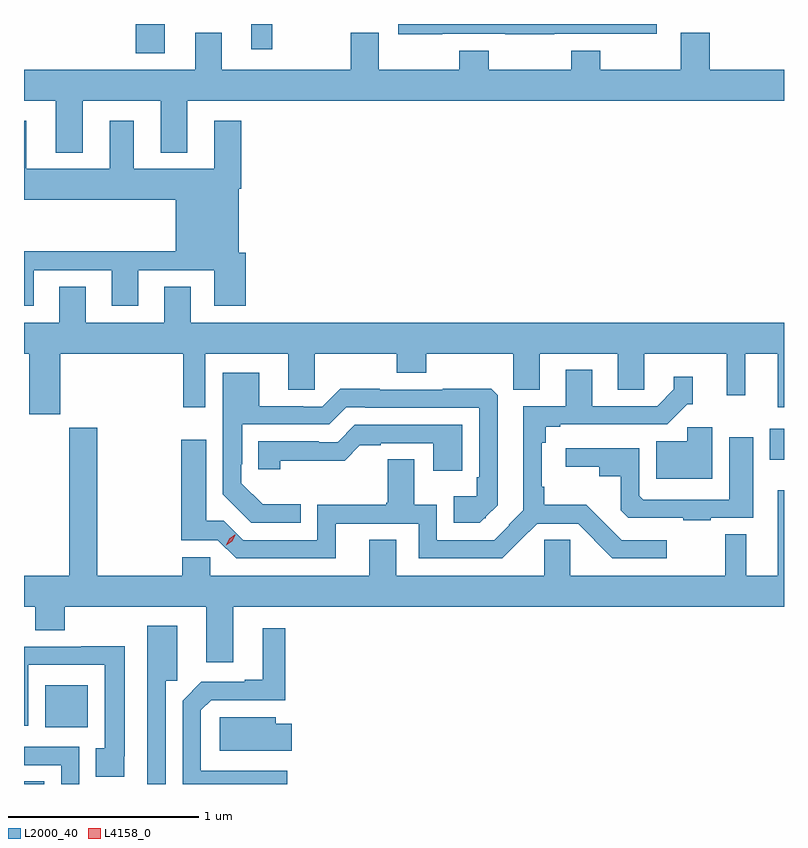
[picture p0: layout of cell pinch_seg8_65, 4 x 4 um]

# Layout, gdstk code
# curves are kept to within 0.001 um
import gdstk
lib = gdstk.Library(unit=1e-6, precision=1e-09)
def R(c, l, rs):  # rectangles x0, y0, x1, y1
    for r in rs: c.add(gdstk.rectangle(r[:2], r[2:], *l))
def P(c, l, *ps):  # polygons
    for p in ps: c.add(gdstk.Polygon(p, *l))
L2000_40 = (2000, 40)
L4158_0 = (4158, 0)

pinch_seg8_65 = lib.new_cell('pinch_seg8_65')
R(pinch_seg8_65, L2000_40, [(885.149,1120.896,885.256,1120.91), (885.26,1121.195,885.484,1121.416), (889.074,1122.602,889.149,1122.766), (885.737,1124.741,885.889,1124.896), (886.346,1124.763,886.456,1124.896)])
P(pinch_seg8_65, L2000_40, [(887.351,1124.844),(887.683,1124.844),(887.683,1124.843),(887.939,1124.843),(887.939,1124.844),(888.478,1124.844),(888.478,1124.896),(887.12,1124.896),(887.12,1124.843),(887.351,1124.843)],
  [(885.457,1124.492),(885.869,1124.492),(885.869,1124.219),(886.009,1124.219),(886.009,1124.492),(889.149,1124.492),(889.149,1124.656),(888.758,1124.656),(888.758,1124.851),(888.605,1124.851),(888.605,1124.656),(888.183,1124.656),(888.183,1124.755),(888.028,1124.755),(888.028,1124.656),(887.595,1124.656),(887.595,1124.755),(887.44,1124.755),(887.44,1124.656),(887.017,1124.656),(887.017,1124.851),(886.87,1124.851),(886.87,1124.656),(886.189,1124.656),(886.189,1124.851),(886.049,1124.851),(886.049,1124.656),(885.149,1124.656),(885.149,1124.492),(885.317,1124.492),(885.317,1124.219),(885.457,1124.219)],
  [(885.199,1123.599),(885.611,1123.599),(885.611,1123.413),(885.751,1123.413),(885.751,1123.599),(886.151,1123.599),(886.151,1123.413),(886.316,1123.413),(886.316,1123.692),(886.279,1123.692),(886.279,1124.03),(886.292,1124.03),(886.292,1124.386),(886.151,1124.386),(886.151,1124.134),(885.727,1124.134),(885.727,1124.386),(885.599,1124.386),(885.599,1124.134),(885.16,1124.134),(885.16,1124.386),(885.149,1124.386),(885.149,1123.97),(885.947,1123.97),(885.947,1123.7),(885.149,1123.7),(885.149,1123.413),(885.199,1123.413)],
  [(885.34,1123.16),(885.988,1123.16),(885.988,1122.879),(886.104,1122.879),(886.104,1123.16),(886.541,1123.16),(886.541,1122.97),(886.68,1122.97),(886.68,1123.16),(887.11,1123.16),(887.11,1123.061),(887.265,1123.061),(887.265,1123.16),(887.723,1123.16),(887.723,1122.97),(887.863,1122.97),(887.863,1123.16),(888.275,1123.16),(888.275,1122.97),(888.414,1122.97),(888.414,1123.16),(888.848,1123.16),(888.848,1122.942),(888.946,1122.942),(888.946,1123.16),(889.115,1123.16),(889.115,1122.879),(889.149,1122.879),(889.149,1123.324),(886.027,1123.324),(886.027,1123.514),(885.887,1123.514),(885.887,1123.324),(885.475,1123.324),(885.475,1123.514),(885.335,1123.514),(885.335,1123.324),(885.149,1123.324),(885.149,1123.16),(885.176,1123.16),(885.176,1122.843),(885.34,1122.843)],
  [(886.789,1122.267),(887.226,1122.267),(887.226,1122.084),(887.665,1122.084),(887.85,1122.267),(888.066,1122.267),(888.153,1122.18),(888.151,1122.178),(888.245,1122.084),(888.532,1122.084),(888.532,1122.18),(888.294,1122.18),(888.109,1122.365),(887.887,1122.365),(887.887,1122.46),(887.874,1122.46),(887.874,1122.692),(887.894,1122.692),(887.894,1122.777),(887.971,1122.777),(887.971,1122.789),(888.534,1122.789),(888.639,1122.894),(888.668,1122.894),(888.668,1123.039),(888.569,1123.039),(888.569,1122.973),(888.481,1122.885),(888.139,1122.885),(888.139,1123.075),(887.999,1123.075),(887.999,1122.885),(887.777,1122.885),(887.777,1122.338),(887.701,1122.261),(887.703,1122.258),(887.625,1122.18),(887.322,1122.18),(887.322,1122.365),(887.203,1122.365),(887.203,1122.605),(887.063,1122.605),(887.063,1122.376),(887.056,1122.376),(887.056,1122.366),(886.692,1122.366),(886.692,1122.18),(886.302,1122.18),(886.2,1122.282),(886.108,1122.282),(886.108,1122.709),(885.976,1122.709),(885.976,1122.18),(886.17,1122.18),(886.266,1122.084),(886.789,1122.084)],
  [(886.606,1122.368),(886.406,1122.368),(886.293,1122.48),(886.293,1122.58),(886.297,1122.58),(886.297,1122.789),(886.755,1122.789),(886.845,1122.879),(886.945,1122.879),(886.945,1122.876),(887.544,1122.876),(887.544,1122.511),(887.532,1122.511),(887.532,1122.411),(887.411,1122.411),(887.411,1122.27),(887.548,1122.27),(887.572,1122.294),(887.58,1122.294),(887.58,1122.302),(887.642,1122.363),(887.642,1122.943),(887.609,1122.976),(887.353,1122.976),(887.353,1122.972),(887.021,1122.972),(887.021,1122.976),(886.813,1122.976),(886.719,1122.882),(886.619,1122.882),(886.619,1122.885),(886.387,1122.885),(886.387,1123.06),(886.196,1123.06),(886.196,1122.42),(886.346,1122.27),(886.606,1122.27)],
  [(887.455,1122.786),(886.89,1122.786),(886.8,1122.696),(886.7,1122.696),(886.7,1122.699),(886.382,1122.699),(886.382,1122.552),(886.498,1122.552),(886.498,1122.598),(886.836,1122.598),(886.916,1122.678),(887.026,1122.678),(887.026,1122.69),(887.303,1122.69),(887.303,1122.546),(887.455,1122.546)],
  [(888.772,1122.773),(888.64,1122.773),(888.64,1122.7),(888.476,1122.7),(888.476,1122.503),(888.772,1122.503)],
  [(886.249,1121.828),(889.149,1121.828),(889.149,1122.442),(889.115,1122.442),(889.115,1121.992),(888.949,1121.992),(888.949,1122.211),(888.84,1122.211),(888.84,1121.992),(888.024,1121.992),(888.024,1122.182),(887.887,1122.182),(887.887,1121.992),(887.107,1121.992),(887.107,1122.182),(886.967,1122.182),(886.967,1121.992),(886.128,1121.992),(886.128,1122.09),(885.982,1122.09),(885.982,1121.992),(885.534,1121.992),(885.534,1122.771),(885.386,1122.771),(885.386,1121.992),(885.149,1121.992),(885.149,1121.828),(885.208,1121.828),(885.208,1121.704),(885.363,1121.704),(885.363,1121.828),(886.109,1121.828),(886.109,1121.538),(886.249,1121.538)],
  [(888.764,1122.297),(888.988,1122.297),(888.988,1122.721),(888.86,1122.721),(888.86,1122.393),(888.408,1122.393),(888.387,1122.414),(888.387,1122.663),(888,1122.663),(888,1122.566),(888.176,1122.566),(888.176,1122.515),(888.291,1122.515),(888.291,1122.336),(888.33,1122.297),(888.619,1122.297),(888.619,1122.285),(888.764,1122.285)],
  [(885.894,1121.439),(885.955,1121.439),(885.955,1121.728),(885.798,1121.728),(885.798,1120.896),(885.894,1120.896)],
  [(886.534,1120.965),(886.08,1120.965),(886.08,1121.283),(886.134,1121.337),(886.523,1121.337),(886.523,1121.716),(886.406,1121.716),(886.406,1121.446),(886.31,1121.446),(886.31,1121.433),(886.083,1121.433),(885.984,1121.334),(885.984,1120.896),(886.534,1120.896)],
  [(885.677,1121.041),(885.679,1121.041),(885.679,1121.621),(885.451,1121.621),(885.451,1121.619),(885.149,1121.619),(885.149,1121.202),(885.171,1121.202),(885.171,1121.523),(885.575,1121.523),(885.575,1121.085),(885.526,1121.085),(885.526,1120.933),(885.677,1120.933)],
  [(886.558,1121.212),(886.474,1121.212),(886.474,1121.248),(886.179,1121.248),(886.179,1121.072),(886.558,1121.072)],
  [(885.441,1121.091),(885.149,1121.091),(885.149,1120.995),(885.345,1120.995),(885.345,1120.896),(885.441,1120.896)])
P(pinch_seg8_65, L4158_0, [(886.214,1122.152),(886.214,1122.153),(886.229,1122.187),(886.259,1122.208),(886.26,1122.208),(886.26,1122.208),(886.244,1122.174),(886.214,1122.152)])

lib.write_gds('pinch_seg8_65.gds')
